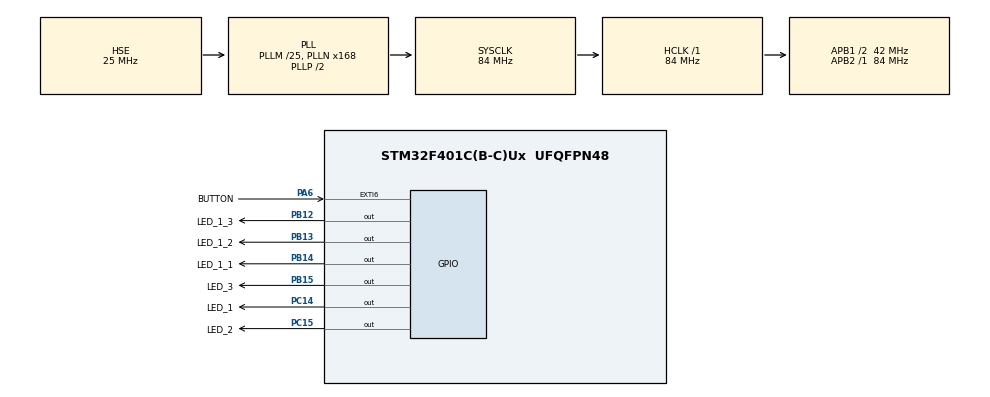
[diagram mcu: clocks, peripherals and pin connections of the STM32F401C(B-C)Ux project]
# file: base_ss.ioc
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Mcu.Family=STM32F4
Mcu.Name=STM32F401C(B-C)Ux
Mcu.Package=UFQFPN48
NVIC.EXTI9_5_IRQn=true\:0\:0\:false\:false\:true\:true\:true\:true
NVIC.PriorityGroup=NVIC_PRIORITYGROUP_4
NVIC.TIM3_IRQn=true\:0\:0\:false\:false\:true\:true\:true\:true
PA6.GPIO_Label=BUTTON
PA6.Signal=GPXTI6
PB12.GPIO_Label=LED_1_3
PB12.PinState=GPIO_PIN_SET
PB12.Signal=GPIO_Output
PB13.GPIO_Label=LED_1_2
PB13.PinState=GPIO_PIN_SET
PB13.Signal=GPIO_Output
PB14.GPIO_Label=LED_1_1
PB14.PinState=GPIO_PIN_RESET
PB14.Signal=GPIO_Output
PB15.GPIO_Label=LED_3
PB15.PinState=GPIO_PIN_RESET
PB15.Signal=GPIO_Output
PC14-OSC32_IN.GPIO_Label=LED_1
PC14-OSC32_IN.PinState=GPIO_PIN_SET
PC14-OSC32_IN.Signal=GPIO_Output
PC15-OSC32_OUT.GPIO_Label=LED_2
PC15-OSC32_OUT.PinState=GPIO_PIN_SET
PC15-OSC32_OUT.Signal=GPIO_Output
PH0\ -\ OSC_IN.Mode=HSE-External-Oscillator
PH0\ -\ OSC_IN.Signal=RCC_OSC_IN
PH1\ -\ OSC_OUT.Mode=HSE-External-Oscillator
PH1\ -\ OSC_OUT.Signal=RCC_OSC_OUT
ProjectManager.HeapSize=0x200
ProjectManager.StackSize=0x400
ProjectManager.TargetToolchain=STM32CubeIDE
RCC.48MHZClocksFreq_Value=42000000
RCC.AHBFreq_Value=84000000
RCC.APB1CLKDivider=RCC_HCLK_DIV2
RCC.APB1Freq_Value=42000000
RCC.APB1TimFreq_Value=84000000
RCC.APB2Freq_Value=84000000
RCC.APB2TimFreq_Value=84000000
RCC.CortexFreq_Value=84000000
RCC.HCLKFreq_Value=84000000
RCC.HSE_VALUE=25000000
RCC.HSI_VALUE=16000000
RCC.LSE_VALUE=32768
RCC.PLLM=25
RCC.PLLN=168
RCC.PLLSourceVirtual=RCC_PLLSOURCE_HSE
RCC.SYSCLKFreq_VALUE=84000000
RCC.SYSCLKSource=RCC_SYSCLKSOURCE_PLLCLK
RCC.VCOOutputFreq_Value=168000000
TIM3.AutoReloadPreload=TIM_AUTORELOAD_PRELOAD_DISABLE
TIM3.Prescaler=8399
VP_TIM3_VS_ClockSourceINT.Mode=Internal
board=custom

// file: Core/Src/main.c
/* USER CODE BEGIN Header */
/**
  ******************************************************************************
  * @file           : main.c
  * @brief          : Main program body
  ******************************************************************************
  * @attention
  *
  * Copyright (c) 2022 STMicroelectronics.
  * All rights reserved.
  *
  * This software is licensed under terms that can be found in the LICENSE file
  * in the root directory of this software component.
  * If no LICENSE file comes with this software, it is provided AS-IS.
  *
  ******************************************************************************
  */
/* USER CODE END Header */
#include "main.h"

/* USER CODE BEGIN PTD */

typedef enum
{
car_green_yellow__human_red_yellow = 0,
car_yellow_red__human_yellow_green = 1,
car_red_yellow__human_green_yellow = 2,
car_yellow_green__human_yellow_red = 3,
simple = 4
} FSM_STATES;
FSM_STATES FSM_STATE = simple;

struct states
{
	uint16_t* Pin_mass;
	GPIO_TypeDef** Port_mass;
	int time_to_next;
};

/* USER CODE END PTD */

TIM_HandleTypeDef htim3;

/* USER CODE BEGIN PV */

struct states mass_states[5];
int flag_of_flicker_yellow = 0;

/* USER CODE END PV */

void SystemClock_Config(void);
static void MX_GPIO_Init(void);
static void MX_TIM3_Init(void);
/* USER CODE BEGIN PFP */
void switching();
/* USER CODE END PFP */

int main(void)
{

  /* MCU Configuration--------------------------------------------------------*/

  /* Reset of all peripherals, Initializes the Flash interface and the Systick. */
  HAL_Init();

  /* Configure the system clock */
  SystemClock_Config();

  /* Initialize all configured peripherals */
  MX_GPIO_Init();
  MX_TIM3_Init();
  /* USER CODE BEGIN 2 */
  //HAL_TIM_Base_Start_IT(&htim3);

  uint16_t Pin_mass_1[] = {LED_2_Pin,LED_3_Pin,LED_1_2_Pin,LED_1_1_Pin};
  GPIO_TypeDef* Port_mass_1[] = {LED_2_GPIO_Port,LED_3_GPIO_Port,LED_1_2_GPIO_Port,LED_1_1_GPIO_Port};

  uint16_t Pin_mass_2[] = {LED_2_Pin,LED_1_Pin,LED_1_2_Pin,LED_1_3_Pin};
  GPIO_TypeDef* Port_mass_2[] = {LED_2_GPIO_Port,LED_1_GPIO_Port,LED_1_2_GPIO_Port,LED_1_3_GPIO_Port};

//  typedef enum
//  {
//  car_green_yellow__human_red_yellow = 0,
//  car_yellow_red__human_yellow_green = 1,
//  car_red_yellow__human_green_yellow = 2,
//  car_yellow_green__human_yellow_red = 3,
//  simple = 4
//  } FSM_STATES;

  for (FSM_STATES i = 0; i < 5; i++)
  {
	if(i == car_green_yellow__human_red_yellow || i == car_yellow_green__human_yellow_red)
  	{
  		mass_states[i].Pin_mass = &Pin_mass_1;
  		mass_states[i].Port_mass = &Port_mass_1;
  		if (i == car_green_yellow__human_red_yellow)
  		{
  			mass_states[i].time_to_next = 1000;
  		}
  		else if (i == car_yellow_green__human_yellow_red)
  		{
  			mass_states[i].time_to_next = 0;
  		}
  	}
  	else if(i == car_yellow_red__human_yellow_green || i == car_red_yellow__human_green_yellow)
  	{
  		mass_states[i].Pin_mass = &Pin_mass_2;
  		mass_states[i].Port_mass = &Port_mass_2;
  		if(i == car_yellow_red__human_yellow_green)
  		{
  			mass_states[i].time_to_next = 40000;
  		}
  		else if(i == car_red_yellow__human_green_yellow)
  		{
  			mass_states[i].time_to_next = 1000;
  		}
  	}
  	else
  	{
  		mass_states[i].Pin_mass = NULL;
  		mass_states[i].Port_mass = NULL;
  		mass_states[i].time_to_next = -1;
  	}
  }

  /* USER CODE END 2 */

  /* Infinite loop */
  /* USER CODE BEGIN WHILE */
  while (1)
  {
//	  if(FSM_STATE == first_it)
//	  	  {
//		  HAL_Delay(4000);
//		  uint16_t Pin_mass_1[] = {LED_2_Pin,LED_3_Pin,LED_1_1_Pin,LED_1_2_Pin};
//		  GPIO_TypeDef* Port_mass_1[] = {LED_2_GPIO_Port,LED_3_GPIO_Port,LED_1_1_GPIO_Port,LED_1_2_GPIO_Port};
//		  switching(&Port_mass_1,&Pin_mass_1);
//		  HAL_Delay(1000);
//		  uint16_t Pin_mass_2[] = {LED_1_Pin,LED_2_Pin,LED_1_2_Pin,LED_1_3_Pin};
//		  GPIO_TypeDef* Port_mass_2[] = {LED_1_GPIO_Port,LED_2_GPIO_Port,LED_1_2_GPIO_Port,LED_1_3_GPIO_Port};
//		  for(int i = 0;i <= 1;i ++)
//		  	 {
//			  switching(&Port_mass_2,&Pin_mass_2);
//			  if(i == 0){HAL_Delay(4000);}else{HAL_Delay(1000);}
//		  	 }
//		  switching(&Port_mass_1,&Pin_mass_1);
//		  FSM_STATE = simple;
//	  	  }

    /* USER CODE END WHILE */

  }
}

void SystemClock_Config(void)
{
  RCC_OscInitTypeDef RCC_OscInitStruct = {0};
  RCC_ClkInitTypeDef RCC_ClkInitStruct = {0};

  /** Configure the main internal regulator output voltage
  */
  __HAL_RCC_PWR_CLK_ENABLE();
  __HAL_PWR_VOLTAGESCALING_CONFIG(PWR_REGULATOR_VOLTAGE_SCALE2);

  /** Initializes the RCC Oscillators according to the specified parameters
  * in the RCC_OscInitTypeDef structure.
  */
  RCC_OscInitStruct.OscillatorType = RCC_OSCILLATORTYPE_HSE;
  RCC_OscInitStruct.HSEState = RCC_HSE_ON;
  RCC_OscInitStruct.PLL.PLLState = RCC_PLL_ON;
  RCC_OscInitStruct.PLL.PLLSource = RCC_PLLSOURCE_HSE;
  RCC_OscInitStruct.PLL.PLLM = 25;
  RCC_OscInitStruct.PLL.PLLN = 168;
  RCC_OscInitStruct.PLL.PLLP = RCC_PLLP_DIV2;
  RCC_OscInitStruct.PLL.PLLQ = 4;
  if (HAL_RCC_OscConfig(&RCC_OscInitStruct) != HAL_OK)
  {
    Error_Handler();
  }

  /** Initializes the CPU, AHB and APB buses clocks
  */
  RCC_ClkInitStruct.ClockType = RCC_CLOCKTYPE_HCLK|RCC_CLOCKTYPE_SYSCLK
                              |RCC_CLOCKTYPE_PCLK1|RCC_CLOCKTYPE_PCLK2;
  RCC_ClkInitStruct.SYSCLKSource = RCC_SYSCLKSOURCE_PLLCLK;
  RCC_ClkInitStruct.AHBCLKDivider = RCC_SYSCLK_DIV1;
  RCC_ClkInitStruct.APB1CLKDivider = RCC_HCLK_DIV2;
  RCC_ClkInitStruct.APB2CLKDivider = RCC_HCLK_DIV1;

  if (HAL_RCC_ClockConfig(&RCC_ClkInitStruct, FLASH_LATENCY_2) != HAL_OK)
  {
    Error_Handler();
  }
}

static void MX_TIM3_Init(void)
{

  TIM_ClockConfigTypeDef sClockSourceConfig = {0};
  TIM_MasterConfigTypeDef sMasterConfig = {0};

  htim3.Instance = TIM3;
  htim3.Init.Prescaler = 8399;
  htim3.Init.CounterMode = TIM_COUNTERMODE_UP;
  htim3.Init.Period = 65535;
  htim3.Init.ClockDivision = TIM_CLOCKDIVISION_DIV1;
  htim3.Init.AutoReloadPreload = TIM_AUTORELOAD_PRELOAD_DISABLE;
  if (HAL_TIM_Base_Init(&htim3) != HAL_OK)
  {
    Error_Handler();
  }
  sClockSourceConfig.ClockSource = TIM_CLOCKSOURCE_INTERNAL;
  if (HAL_TIM_ConfigClockSource(&htim3, &sClockSourceConfig) != HAL_OK)
  {
    Error_Handler();
  }
  sMasterConfig.MasterOutputTrigger = TIM_TRGO_RESET;
  sMasterConfig.MasterSlaveMode = TIM_MASTERSLAVEMODE_DISABLE;
  if (HAL_TIMEx_MasterConfigSynchronization(&htim3, &sMasterConfig) != HAL_OK)
  {
    Error_Handler();
  }

}

static void MX_GPIO_Init(void)
{
  GPIO_InitTypeDef GPIO_InitStruct = {0};

  /* GPIO Ports Clock Enable */
  __HAL_RCC_GPIOC_CLK_ENABLE();
  __HAL_RCC_GPIOH_CLK_ENABLE();
  __HAL_RCC_GPIOA_CLK_ENABLE();
  __HAL_RCC_GPIOB_CLK_ENABLE();

  /*Configure GPIO pin Output Level */
  HAL_GPIO_WritePin(GPIOC, LED_1_Pin|LED_2_Pin, GPIO_PIN_SET);

  /*Configure GPIO pin Output Level */
  HAL_GPIO_WritePin(GPIOB, LED_1_3_Pin|LED_1_2_Pin, GPIO_PIN_SET);

  /*Configure GPIO pin Output Level */
  HAL_GPIO_WritePin(GPIOB, LED_1_1_Pin|LED_3_Pin, GPIO_PIN_RESET);

  /*Configure GPIO pins : LED_1_Pin LED_2_Pin */
  GPIO_InitStruct.Pin = LED_1_Pin|LED_2_Pin;
  GPIO_InitStruct.Mode = GPIO_MODE_OUTPUT_PP;
  GPIO_InitStruct.Pull = GPIO_NOPULL;
  GPIO_InitStruct.Speed = GPIO_SPEED_FREQ_LOW;
  HAL_GPIO_Init(GPIOC, &GPIO_InitStruct);

  /*Configure GPIO pin : BUTTON_Pin */
  GPIO_InitStruct.Pin = BUTTON_Pin;
  GPIO_InitStruct.Mode = GPIO_MODE_IT_RISING;
  GPIO_InitStruct.Pull = GPIO_NOPULL;
  HAL_GPIO_Init(BUTTON_GPIO_Port, &GPIO_InitStruct);

  /*Configure GPIO pins : LED_1_3_Pin LED_1_2_Pin LED_1_1_Pin LED_3_Pin */
  GPIO_InitStruct.Pin = LED_1_3_Pin|LED_1_2_Pin|LED_1_1_Pin|LED_3_Pin;
  GPIO_InitStruct.Mode = GPIO_MODE_OUTPUT_PP;
  GPIO_InitStruct.Pull = GPIO_NOPULL;
  GPIO_InitStruct.Speed = GPIO_SPEED_FREQ_LOW;
  HAL_GPIO_Init(GPIOB, &GPIO_InitStruct);

  /* EXTI interrupt init*/
  HAL_NVIC_SetPriority(EXTI9_5_IRQn, 0, 0);
  HAL_NVIC_EnableIRQ(EXTI9_5_IRQn);

}

/* USER CODE BEGIN 4 */
void HAL_GPIO_EXTI_Callback(uint16_t GPIO_Pin)
{
	if(GPIO_Pin == BUTTON_Pin && FSM_STATE == simple)
	{
		HAL_TIM_Base_Start_IT(&htim3);
		__HAL_TIM_SET_AUTORELOAD(&htim3, 40000);
//		__HAL_TIM_SET_COUNTER(&htim3, 40000);
//		htim3.Init.Period = 40000;
		FSM_STATE = car_green_yellow__human_red_yellow;
	}
}

void HAL_TIM_PeriodElapsedCallback(TIM_HandleTypeDef *htim)
{
	if(htim == &htim3)
	{
		switching();
	}
}

void switching()
{
	if(FSM_STATE == simple){HAL_TIM_Base_Stop_IT(&htim3);return;}
	if(FSM_STATE == car_yellow_red__human_yellow_green || FSM_STATE == car_yellow_green__human_yellow_red)
	{
		if(flag_of_flicker_yellow < 20)
		{
			flag_of_flicker_yellow++;
			HAL_GPIO_TogglePin(*(mass_states[FSM_STATE].Port_mass),*(mass_states[FSM_STATE].Pin_mass));
			HAL_GPIO_TogglePin(*(mass_states[FSM_STATE].Port_mass + 2),*(mass_states[FSM_STATE].Pin_mass + 2));
			return;
		}else
		{
			flag_of_flicker_yellow = 0;
		}

	}
	for(int i = 0; i <= 3; i++)
	{
	HAL_GPIO_TogglePin(*(mass_states[FSM_STATE].Port_mass + i),*(mass_states[FSM_STATE].Pin_mass + i));
	}
	__HAL_TIM_SET_AUTORELOAD(&htim3, mass_states[FSM_STATE].time_to_next);
//	__HAL_TIM_SET_COUNTER(&htim3, mass_states[FSM_STATE].time_to_next);
//	htim3.Init.Period = mass_states[FSM_STATE].time_to_next;
	++FSM_STATE;
}
/* USER CODE END 4 */

void Error_Handler(void)
{
  __disable_irq();
  while (1)
  {
  }
}
